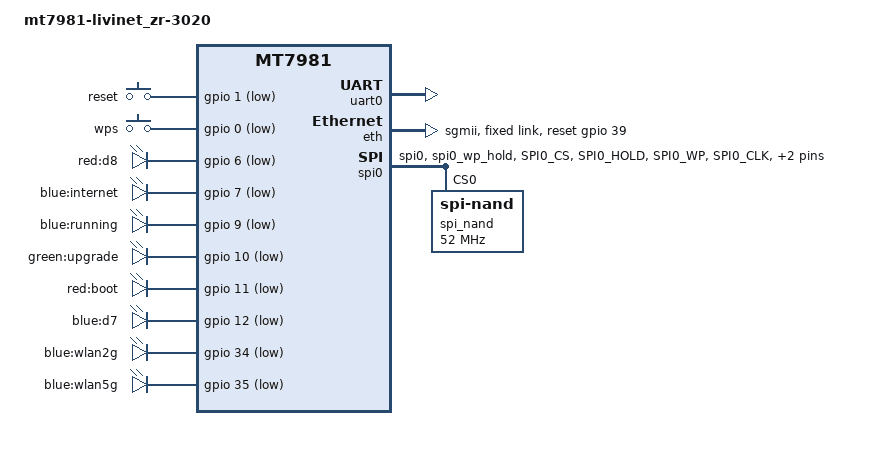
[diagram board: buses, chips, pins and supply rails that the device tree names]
/dts-v1/;
#include "mt7981.dtsi"
#include <dt-bindings/gpio/gpio.h>

/ {
	#address-cells = <1>;
	#size-cells = <1>;
	model = "mt7981-livinet_zr-3020";
	compatible = "mediatek,mt7981", "mediatek,mt7981-rfb";

	chosen {
		stdout-path = &uart0;
		tick-timer = &timer0;
	};

	config {
		bootcmd = "mtkboardboot";
		blink_led = "red:d8";
		system_led = "green:upgrade";
	};

	gpio-keys {
		compatible = "gpio-keys";

		button-reset {
			label = "reset";
			gpios = <&gpio 1 GPIO_ACTIVE_LOW>;
		};

		button-wps {
			label = "wps";
			gpios = <&gpio 0 GPIO_ACTIVE_LOW>;
		};
	};

	leds {
		compatible = "gpio-leds";

		led-0 {
			label = "red:d8";
			gpios = <&gpio 6 GPIO_ACTIVE_LOW>;
		};

		led-1 {
			label = "blue:internet";
			gpios = <&gpio 7 GPIO_ACTIVE_LOW>;
		};

		running_led: led-2 {
			label = "blue:running";
			gpios = <&gpio 9 GPIO_ACTIVE_LOW>;
		};

		upgrade_led: led-3 {
			label = "green:upgrade";
			gpios = <&gpio 10 GPIO_ACTIVE_LOW>;
		};

		boot_led: led-4 {
			label = "red:boot";
			gpios = <&gpio 11 GPIO_ACTIVE_LOW>;
		};

		led-6 {
			label = "blue:d7";
			gpios = <&gpio 12 GPIO_ACTIVE_LOW>;
		};

		led-7 {
			label = "blue:wlan2g";
			gpios = <&gpio 34 GPIO_ACTIVE_LOW>;
		};

		led-8 {
			label = "blue:wlan5g";
			gpios = <&gpio 35 GPIO_ACTIVE_LOW>;
		};
	};
};

&uart0 {
	status = "okay";
};

&eth {
	status = "okay";
	mediatek,gmac-id = <0>;
	phy-mode = "sgmii";
	mediatek,switch = "mt7531";
	reset-gpios = <&gpio 39 GPIO_ACTIVE_HIGH>;

	fixed-link {
		speed = <1000>;
		full-duplex;
	};
};

&pinctrl {
	spi_flash_pins: spi0-pins-func-1 {
		mux {
			function = "flash";
			groups = "spi0", "spi0_wp_hold";
		};

		conf-pu {
			pins = "SPI0_CS", "SPI0_HOLD", "SPI0_WP";
			drive-strength = <MTK_DRIVE_8mA>;
			bias-pull-up = <MTK_PUPD_SET_R1R0_11>;
		};

		conf-pd {
			pins = "SPI0_CLK", "SPI0_MOSI", "SPI0_MISO";
			drive-strength = <MTK_DRIVE_8mA>;
			bias-pull-down = <MTK_PUPD_SET_R1R0_11>;
		};
	};
};

&spi0 {
	#address-cells = <1>;
	#size-cells = <0>;
	pinctrl-names = "default";
	pinctrl-0 = <&spi_flash_pins>;
	status = "okay";
	must_tx;
	enhance_timing;
	dma_ext;
	ipm_design;
	support_quad;
	tick_dly = <2>;
	sample_sel = <0>;

	spi_nand@0 {
		compatible = "spi-nand";
		reg = <0>;
		spi-max-frequency = <52000000>;
	};
};

&watchdog {
	status = "disabled";
};
